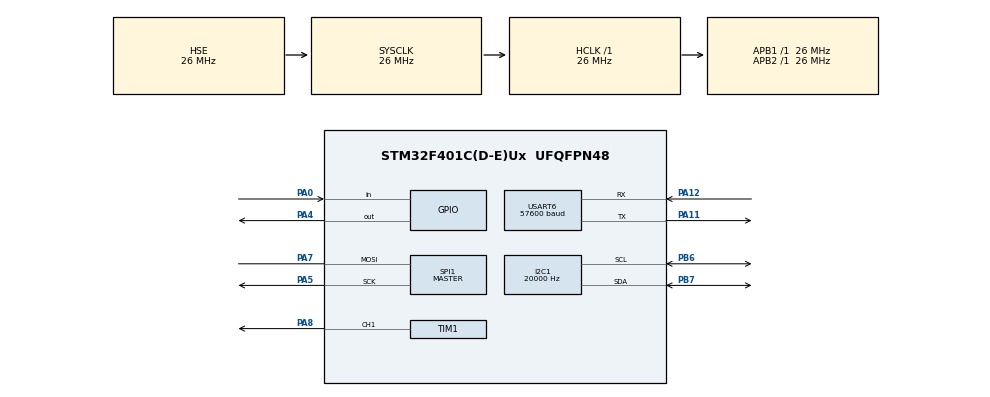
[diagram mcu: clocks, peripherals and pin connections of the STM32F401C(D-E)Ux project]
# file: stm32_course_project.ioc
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Dma.Request0=USART6_TX
Dma.USART6_TX.0.Direction=DMA_MEMORY_TO_PERIPH
Dma.USART6_TX.0.FIFOMode=DMA_FIFOMODE_DISABLE
Dma.USART6_TX.0.Instance=DMA2_Stream6
Dma.USART6_TX.0.MemDataAlignment=DMA_MDATAALIGN_BYTE
Dma.USART6_TX.0.MemInc=DMA_MINC_ENABLE
Dma.USART6_TX.0.Mode=DMA_NORMAL
Dma.USART6_TX.0.PeriphDataAlignment=DMA_PDATAALIGN_BYTE
Dma.USART6_TX.0.PeriphInc=DMA_PINC_DISABLE
Dma.USART6_TX.0.Priority=DMA_PRIORITY_LOW
FREERTOS.Tasks01=defaultTask,24,128,StartDefaultTask,Default,NULL,Dynamic,NULL,NULL
I2C1.ClockSpeed=20000
Mcu.Family=STM32F4
Mcu.Name=STM32F401C(D-E)Ux
Mcu.Package=UFQFPN48
NVIC.DMA2_Stream6_IRQn=true\:5\:0\:false\:false\:true\:true\:false\:true\:true
NVIC.PriorityGroup=NVIC_PRIORITYGROUP_4
NVIC.TIM1_UP_TIM10_IRQn=true\:5\:0\:false\:false\:true\:true\:true\:true\:true
NVIC.TIM2_IRQn=true\:15\:0\:false\:false\:true\:false\:false\:true\:true
NVIC.TimeBase=TIM2_IRQn
NVIC.TimeBaseIP=TIM2
NVIC.USART6_IRQn=true\:5\:0\:false\:false\:true\:true\:true\:true\:true
PA0-WKUP.GPIO_PuPd=GPIO_PULLUP
PA0-WKUP.Signal=GPIO_Input
PA11.Mode=Asynchronous
PA11.Signal=USART6_TX
PA12.Mode=Asynchronous
PA12.Signal=USART6_RX
PA13.Mode=Serial_Wire
PA13.Signal=SYS_JTMS-SWDIO
PA14.Mode=Serial_Wire
PA14.Signal=SYS_JTCK-SWCLK
PA4.GPIO_PuPd=GPIO_PULLUP
PA4.GPIO_Speed=GPIO_SPEED_FREQ_MEDIUM
PA4.PinState=GPIO_PIN_SET
PA4.Signal=GPIO_Output
PA5.Mode=Simplex_Bidirectional_Master
PA5.Signal=SPI1_SCK
PA7.Mode=Simplex_Bidirectional_Master
PA7.Signal=SPI1_MOSI
PA8.Signal=S_TIM1_CH1
PB6.Mode=I2C
PB6.Signal=I2C1_SCL
PB7.Mode=I2C
PB7.Signal=I2C1_SDA
PH0\ -\ OSC_IN.Mode=HSE-External-Oscillator
PH0\ -\ OSC_IN.Signal=RCC_OSC_IN
PH1\ -\ OSC_OUT.Mode=HSE-External-Oscillator
PH1\ -\ OSC_OUT.Signal=RCC_OSC_OUT
ProjectManager.HeapSize=0x200
ProjectManager.StackSize=0x400
ProjectManager.TargetToolchain=STM32CubeIDE
RCC.48MHZClocksFreq_Value=48000000
RCC.AHBFreq_Value=26000000
RCC.APB1Freq_Value=26000000
RCC.APB1TimFreq_Value=26000000
RCC.APB2Freq_Value=26000000
RCC.APB2TimFreq_Value=26000000
RCC.CortexFreq_Value=26000000
RCC.HCLKFreq_Value=26000000
RCC.HSE_VALUE=26000000
RCC.HSI_VALUE=16000000
RCC.LSE_VALUE=32768
RCC.SYSCLKFreq_VALUE=26000000
RCC.SYSCLKSource=RCC_SYSCLKSOURCE_HSE
RCC.VCOOutputFreq_Value=192000000
SH.S_TIM1_CH1.0=TIM1_CH1,PWM Generation1 CH1
SPI1.BaudRatePrescaler=SPI_BAUDRATEPRESCALER_128
SPI1.CLKPolarity=SPI_POLARITY_HIGH
SPI1.Direction=SPI_DIRECTION_1LINE
SPI1.Mode=SPI_MODE_MASTER
SPI1.VirtualType=VM_MASTER
TIM1.Channel-PWM\ Generation1\ CH1=TIM_CHANNEL_1
TIM1.CounterMode=TIM_COUNTERMODE_UP
TIM1.Period=1000-1
TIM1.Prescaler=26-1
USART6.BaudRate=57600
USART6.VirtualMode=VM_ASYNC
VP_FREERTOS_VS_CMSIS_V2.Mode=CMSIS_V2
VP_SYS_VS_tim2.Mode=TIM2
VP_TIM1_VS_ClockSourceINT.Mode=Internal
board=custom

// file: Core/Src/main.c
/* USER CODE BEGIN Header */
/**
  ******************************************************************************
  * @file           : main.c
  * @brief          : Main program body
  ******************************************************************************
  * @attention
  *
  * Copyright (c) 2025 STMicroelectronics.
  * All rights reserved.
  *
  * This software is licensed under terms that can be found in the LICENSE file
  * in the root directory of this software component.
  * If no LICENSE file comes with this software, it is provided AS-IS.
  *
  ******************************************************************************
  */
/* USER CODE END Header */
#include "main.h"
#include "cmsis_os.h"
#include <stdio.h>

/* USER CODE BEGIN Includes */
#include <led/inc/app_led.h>
#include <display/inc/max7219_led_matrix.h>
#include <console/inc/app_console.h>

/* USER CODE END Includes */

/* USER CODE BEGIN PD */

#define MAX7219_DATA_SIZE (2U)
#define LSM6DS3_I2C_ADDRESS ((uint16_t)0b1101010 << 1)
#define LSM6DS3_WHO_AM_I_REG_ADDR (0x0f)
#define LSM6DS3_WHO_AM_I_REG_DEFAULT_VAL (0b01101001)
#define LSM6DS3_OUTX_L_G_REG_ADDR (0x22)
#define LSM6DS3_OUTX_H_G_REG_ADDR (0x23)
#define LSM6DS3_CTRL2_G_REG_ADDR (0x11)

/* USER CODE END PD */

I2C_HandleTypeDef hi2c1;

SPI_HandleTypeDef hspi1;

TIM_HandleTypeDef htim1;

UART_HandleTypeDef huart6;
DMA_HandleTypeDef hdma_usart6_tx;

/* Definitions for defaultTask */
osThreadId_t defaultTaskHandle;
const osThreadAttr_t defaultTask_attributes = {
  .name = "defaultTask",
  .stack_size = 128 * 4,
  .priority = (osPriority_t) osPriorityNormal,
};

void SystemClock_Config(void);
static void MX_GPIO_Init(void);
static void MX_DMA_Init(void);
static void MX_TIM1_Init(void);
static void MX_SPI1_Init(void);
static void MX_I2C1_Init(void);
static void MX_USART6_UART_Init(void);
void StartDefaultTask(void *argument);

int main(void)
{

  /* MCU Configuration--------------------------------------------------------*/

  /* Reset of all peripherals, Initializes the Flash interface and the Systick. */
  HAL_Init();

  /* Configure the system clock */
  SystemClock_Config();

  /* Initialize all configured peripherals */
  MX_GPIO_Init();
  MX_DMA_Init();
  MX_TIM1_Init();
  MX_SPI1_Init();
  MX_I2C1_Init();
  MX_USART6_UART_Init();
  /* USER CODE BEGIN 2 */

  HAL_StatusTypeDef result = app_led_init(&htim1);
  if (result != HAL_OK)
  {
    // TODO: error handling
  }

  result = app_led_matrix_init(&hspi1, GPIOA, GPIO_PIN_4);
  if (result != HAL_OK)
  {
    // TODO: error handling
  }

  result = app_console_init(&huart6);
  if (result != HAL_OK)
  {
    // TODO: error handling
  }

  const uint8_t test_bitmap[MAX_7219_LED_MATRIX_SIZE] =
  {
    0b00000000,
    0b01100110,
    0b11111111,
    0b11111111,
    0b11111111,
    0b01111110,
    0b01111100,
    0b00111000
  };

  result = app_led_matrix_draw_bitmap((uint8_t*)test_bitmap);
  if (result != HAL_OK)
  {
    // TODO: error handling
  }

  // HAL_UART_RegisterCallback(&huart6, HAL_UART_RX_COMPLETE_CB_ID, &uart_rx_complete);

  // uint8_t data_rx[32] = {0};
  // HAL_UART_Receive_IT(&huart6, data_rx, (uint16_t)sizeof(data_rx));

  // const uint8_t data_tx[] = "Hello world!\n";
  // HAL_UART_Transmit_DMA(&huart6, data_tx, (uint16_t)sizeof(data_tx));
  // TODO: Get accelerometer/gyro data from the module via IT or DMA
  // TODO: Send accelerometer/gyro data to UART
  /* USER CODE END 2 */

  /* Init scheduler */
  osKernelInitialize();

  /* Create the thread(s) */
  /* creation of defaultTask */
  defaultTaskHandle = osThreadNew(StartDefaultTask, NULL, &defaultTask_attributes);

  /* Start scheduler */
  osKernelStart();

  /* We should never get here as control is now taken by the scheduler */

  /* Infinite loop */
  while (1)
  {

    /* USER CODE BEGIN 3 */

    // TODO: finish LSM6DS3 implementation using rtos, move out of here
    HAL_StatusTypeDef result = HAL_I2C_IsDeviceReady(&hi2c1, LSM6DS3_I2C_ADDRESS, 10, 1000);
    if (result != HAL_OK)
    {
      // TODO: error handling
      continue;
    }

    uint8_t whoami_reg_val = 0;
    result = HAL_I2C_Mem_Read(&hi2c1, LSM6DS3_I2C_ADDRESS, LSM6DS3_WHO_AM_I_REG_ADDR, 1, &whoami_reg_val, 1, 1000);
    if ((result != HAL_OK) || (whoami_reg_val != LSM6DS3_WHO_AM_I_REG_DEFAULT_VAL))
    {
      // TODO: error handling
      continue;
    }

    const uint8_t ctrl2_g_reg_val = 0x30;
    result = HAL_I2C_Mem_Write(&hi2c1, LSM6DS3_I2C_ADDRESS, LSM6DS3_CTRL2_G_REG_ADDR, 1, &ctrl2_g_reg_val, 1, 1000);
    if (result != HAL_OK)
    {
      // TODO: error handling
      continue;
    }

    uint16_t outx_gyro = 0;
    result = HAL_I2C_Mem_Read(&hi2c1, LSM6DS3_I2C_ADDRESS, LSM6DS3_OUTX_H_G_REG_ADDR, 1, &outx_gyro, 1, 1000);
    if (result != HAL_OK)
    {
      // TODO: error handling
      continue;
    }

    outx_gyro <<= 8;

    result = HAL_I2C_Mem_Read(&hi2c1, LSM6DS3_I2C_ADDRESS, LSM6DS3_OUTX_L_G_REG_ADDR, 1, &outx_gyro, 1, 1000);
    if (result != HAL_OK)
    {
      // TODO: error handling
      continue;
    }
  }
  /* USER CODE END 3 */
}

void SystemClock_Config(void)
{
  RCC_OscInitTypeDef RCC_OscInitStruct = {0};
  RCC_ClkInitTypeDef RCC_ClkInitStruct = {0};

  /** Configure the main internal regulator output voltage
  */
  __HAL_RCC_PWR_CLK_ENABLE();
  __HAL_PWR_VOLTAGESCALING_CONFIG(PWR_REGULATOR_VOLTAGE_SCALE2);

  /** Initializes the RCC Oscillators according to the specified parameters
  * in the RCC_OscInitTypeDef structure.
  */
  RCC_OscInitStruct.OscillatorType = RCC_OSCILLATORTYPE_HSE;
  RCC_OscInitStruct.HSEState = RCC_HSE_ON;
  RCC_OscInitStruct.PLL.PLLState = RCC_PLL_NONE;
  if (HAL_RCC_OscConfig(&RCC_OscInitStruct) != HAL_OK)
  {
    Error_Handler();
  }

  /** Initializes the CPU, AHB and APB buses clocks
  */
  RCC_ClkInitStruct.ClockType = RCC_CLOCKTYPE_HCLK|RCC_CLOCKTYPE_SYSCLK
                              |RCC_CLOCKTYPE_PCLK1|RCC_CLOCKTYPE_PCLK2;
  RCC_ClkInitStruct.SYSCLKSource = RCC_SYSCLKSOURCE_HSE;
  RCC_ClkInitStruct.AHBCLKDivider = RCC_SYSCLK_DIV1;
  RCC_ClkInitStruct.APB1CLKDivider = RCC_HCLK_DIV1;
  RCC_ClkInitStruct.APB2CLKDivider = RCC_HCLK_DIV1;

  if (HAL_RCC_ClockConfig(&RCC_ClkInitStruct, FLASH_LATENCY_0) != HAL_OK)
  {
    Error_Handler();
  }
}

static void MX_I2C1_Init(void)
{

  hi2c1.Instance = I2C1;
  hi2c1.Init.ClockSpeed = 20000;
  hi2c1.Init.DutyCycle = I2C_DUTYCYCLE_2;
  hi2c1.Init.OwnAddress1 = 0;
  hi2c1.Init.AddressingMode = I2C_ADDRESSINGMODE_7BIT;
  hi2c1.Init.DualAddressMode = I2C_DUALADDRESS_DISABLE;
  hi2c1.Init.OwnAddress2 = 0;
  hi2c1.Init.GeneralCallMode = I2C_GENERALCALL_DISABLE;
  hi2c1.Init.NoStretchMode = I2C_NOSTRETCH_DISABLE;
  if (HAL_I2C_Init(&hi2c1) != HAL_OK)
  {
    Error_Handler();
  }

}

static void MX_SPI1_Init(void)
{

  /* SPI1 parameter configuration*/
  hspi1.Instance = SPI1;
  hspi1.Init.Mode = SPI_MODE_MASTER;
  hspi1.Init.Direction = SPI_DIRECTION_1LINE;
  hspi1.Init.DataSize = SPI_DATASIZE_8BIT;
  hspi1.Init.CLKPolarity = SPI_POLARITY_HIGH;
  hspi1.Init.CLKPhase = SPI_PHASE_1EDGE;
  hspi1.Init.NSS = SPI_NSS_SOFT;
  hspi1.Init.BaudRatePrescaler = SPI_BAUDRATEPRESCALER_128;
  hspi1.Init.FirstBit = SPI_FIRSTBIT_MSB;
  hspi1.Init.TIMode = SPI_TIMODE_DISABLE;
  hspi1.Init.CRCCalculation = SPI_CRCCALCULATION_DISABLE;
  hspi1.Init.CRCPolynomial = 10;
  if (HAL_SPI_Init(&hspi1) != HAL_OK)
  {
    Error_Handler();
  }

}

static void MX_TIM1_Init(void)
{

  TIM_ClockConfigTypeDef sClockSourceConfig = {0};
  TIM_MasterConfigTypeDef sMasterConfig = {0};
  TIM_OC_InitTypeDef sConfigOC = {0};
  TIM_BreakDeadTimeConfigTypeDef sBreakDeadTimeConfig = {0};

  htim1.Instance = TIM1;
  htim1.Init.Prescaler = 26-1;
  htim1.Init.CounterMode = TIM_COUNTERMODE_UP;
  htim1.Init.Period = 1000-1;
  htim1.Init.ClockDivision = TIM_CLOCKDIVISION_DIV1;
  htim1.Init.RepetitionCounter = 0;
  htim1.Init.AutoReloadPreload = TIM_AUTORELOAD_PRELOAD_DISABLE;
  if (HAL_TIM_Base_Init(&htim1) != HAL_OK)
  {
    Error_Handler();
  }
  sClockSourceConfig.ClockSource = TIM_CLOCKSOURCE_INTERNAL;
  if (HAL_TIM_ConfigClockSource(&htim1, &sClockSourceConfig) != HAL_OK)
  {
    Error_Handler();
  }
  if (HAL_TIM_PWM_Init(&htim1) != HAL_OK)
  {
    Error_Handler();
  }
  sMasterConfig.MasterOutputTrigger = TIM_TRGO_RESET;
  sMasterConfig.MasterSlaveMode = TIM_MASTERSLAVEMODE_DISABLE;
  if (HAL_TIMEx_MasterConfigSynchronization(&htim1, &sMasterConfig) != HAL_OK)
  {
    Error_Handler();
  }
  sConfigOC.OCMode = TIM_OCMODE_PWM1;
  sConfigOC.Pulse = 0;
  sConfigOC.OCPolarity = TIM_OCPOLARITY_HIGH;
  sConfigOC.OCNPolarity = TIM_OCNPOLARITY_HIGH;
  sConfigOC.OCFastMode = TIM_OCFAST_DISABLE;
  sConfigOC.OCIdleState = TIM_OCIDLESTATE_RESET;
  sConfigOC.OCNIdleState = TIM_OCNIDLESTATE_RESET;
  if (HAL_TIM_PWM_ConfigChannel(&htim1, &sConfigOC, TIM_CHANNEL_1) != HAL_OK)
  {
    Error_Handler();
  }
  sBreakDeadTimeConfig.OffStateRunMode = TIM_OSSR_DISABLE;
  sBreakDeadTimeConfig.OffStateIDLEMode = TIM_OSSI_DISABLE;
  sBreakDeadTimeConfig.LockLevel = TIM_LOCKLEVEL_OFF;
  sBreakDeadTimeConfig.DeadTime = 0;
  sBreakDeadTimeConfig.BreakState = TIM_BREAK_DISABLE;
  sBreakDeadTimeConfig.BreakPolarity = TIM_BREAKPOLARITY_HIGH;
  sBreakDeadTimeConfig.AutomaticOutput = TIM_AUTOMATICOUTPUT_DISABLE;
  if (HAL_TIMEx_ConfigBreakDeadTime(&htim1, &sBreakDeadTimeConfig) != HAL_OK)
  {
    Error_Handler();
  }
  HAL_TIM_MspPostInit(&htim1);

}

static void MX_USART6_UART_Init(void)
{

  huart6.Instance = USART6;
  huart6.Init.BaudRate = 57600;
  huart6.Init.WordLength = UART_WORDLENGTH_8B;
  huart6.Init.StopBits = UART_STOPBITS_1;
  huart6.Init.Parity = UART_PARITY_NONE;
  huart6.Init.Mode = UART_MODE_TX_RX;
  huart6.Init.HwFlowCtl = UART_HWCONTROL_NONE;
  huart6.Init.OverSampling = UART_OVERSAMPLING_16;
  if (HAL_UART_Init(&huart6) != HAL_OK)
  {
    Error_Handler();
  }

}

static void MX_DMA_Init(void)
{

  /* DMA controller clock enable */
  __HAL_RCC_DMA2_CLK_ENABLE();

  /* DMA interrupt init */
  /* DMA2_Stream6_IRQn interrupt configuration */
  HAL_NVIC_SetPriority(DMA2_Stream6_IRQn, 5, 0);
  HAL_NVIC_EnableIRQ(DMA2_Stream6_IRQn);

}

static void MX_GPIO_Init(void)
{
  GPIO_InitTypeDef GPIO_InitStruct = {0};

  /* GPIO Ports Clock Enable */
  __HAL_RCC_GPIOH_CLK_ENABLE();
  __HAL_RCC_GPIOA_CLK_ENABLE();
  __HAL_RCC_GPIOB_CLK_ENABLE();

  /*Configure GPIO pin Output Level */
  HAL_GPIO_WritePin(GPIOA, GPIO_PIN_4, GPIO_PIN_SET);

  /*Configure GPIO pin : PA0 */
  GPIO_InitStruct.Pin = GPIO_PIN_0;
  GPIO_InitStruct.Mode = GPIO_MODE_INPUT;
  GPIO_InitStruct.Pull = GPIO_PULLUP;
  HAL_GPIO_Init(GPIOA, &GPIO_InitStruct);

  /*Configure GPIO pin : PA4 */
  GPIO_InitStruct.Pin = GPIO_PIN_4;
  GPIO_InitStruct.Mode = GPIO_MODE_OUTPUT_PP;
  GPIO_InitStruct.Pull = GPIO_PULLUP;
  GPIO_InitStruct.Speed = GPIO_SPEED_FREQ_MEDIUM;
  HAL_GPIO_Init(GPIOA, &GPIO_InitStruct);

}

void StartDefaultTask(void *argument)
{
  /* USER CODE BEGIN 5 */
  /* Infinite loop */
  for(;;)
  {
    // printf("Hello from default task! [0]\n");
    // vTaskDelay(pdMS_TO_TICKS(1000));
    // printf("Hello from default task! [1]\n");
    // vTaskDelay(pdMS_TO_TICKS(1000));
    vTaskDelay(pdMS_TO_TICKS(1000));
  }
  /* USER CODE END 5 */
}

void HAL_TIM_PeriodElapsedCallback(TIM_HandleTypeDef *htim)
{
  if (htim->Instance == TIM2)
  {
    HAL_IncTick();
  }
}

void Error_Handler(void)
{
  __disable_irq();
  while (1)
  {
  }
}
